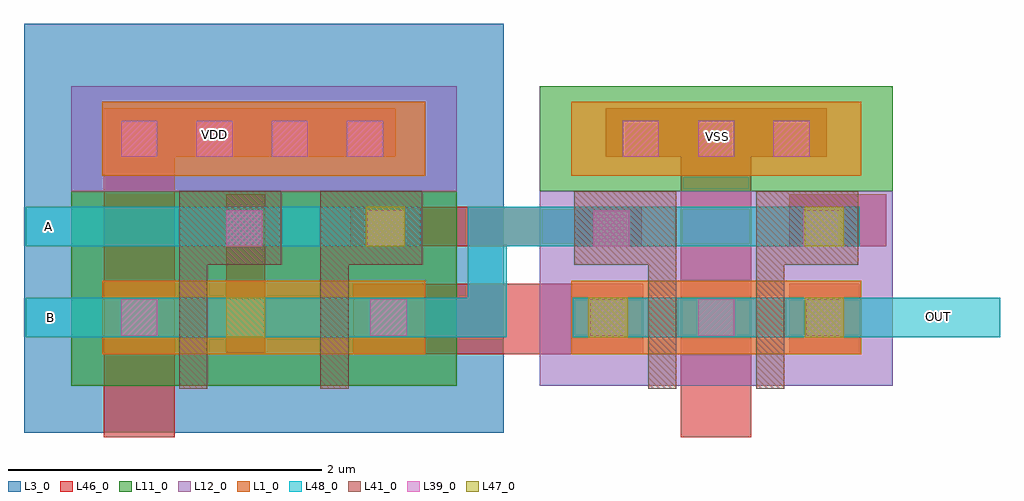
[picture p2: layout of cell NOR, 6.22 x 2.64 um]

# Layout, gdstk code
import gdstk
lib = gdstk.Library(unit=1e-6, precision=1e-09)
def R(c, l, rs):  # rectangles x0, y0, x1, y1
    for r in rs: c.add(gdstk.rectangle(r[:2], r[2:], *l))
def A(c, l, x, y, w, h, nx, ny, dx, dy):  # array of equal rectangles
    R(c, l, [(x+i*dx, y+j*dy, x+i*dx+w, y+j*dy+h) for i in range(nx) for j in range(ny)])
L1_0 = (1, 0)
L3_0 = (3, 0)
L11_0 = (11, 0)
L12_0 = (12, 0)
L39_0 = (39, 0)
L41_0 = (41, 0)
L46_0 = (46, 0)
L47_0 = (47, 0)
L48_0 = (48, 0)

nor = lib.new_cell('NOR')
R(nor, L1_0, [(1.92,5.715,3.98,6.185), (4.91,5.715,6.76,6.185), (1.92,6.855,3.98,7.325), (4.91,6.855,6.76,7.325)])
R(nor, L3_0, [(1.42,5.215,4.48,7.825)])
R(nor, L11_0, [(1.72,5.515,4.18,6.755), (4.71,6.755,6.96,7.425)])
R(nor, L12_0, [(4.71,5.515,6.96,6.755), (1.72,6.755,4.18,7.425)])
A(nor, L39_0, 5.03, 5.835, 0.23, 0.23, 3, 1, 0.69, 0)
A(nor, L39_0, 2.04, 6.975, 0.23, 0.23, 4, 1, 0.48, 0)
A(nor, L39_0, 5.24, 6.975, 0.23, 0.23, 3, 1, 0.48, 0)
R(nor, L39_0, [(2.04,5.835,2.27,6.065), (3.63,5.835,3.86,6.065), (2.71,6.405,2.94,6.635), (3.61,6.405,3.84,6.635), (5.05,6.405,5.28,6.635), (6.39,6.405,6.62,6.635)])
R(nor, L41_0, [(2.41,5.495,2.59,6.755), (3.31,5.495,3.49,6.755), (5.4,5.495,5.58,6.755), (6.09,5.495,6.27,6.755), (2.59,6.285,3.06,6.755), (3.49,6.285,3.96,6.755), (4.93,6.285,5.4,6.755), (6.27,6.285,6.74,6.755)])
R(nor, L46_0, [(1.93,5.185,2.38,7.285), (5.61,5.185,6.06,7.285), (3.52,5.715,5.37,6.165), (6.3,5.715,6.75,6.165), (2.71,5.725,2.96,6.735), (3.5,6.405,5.36,6.655), (6.3,6.405,6.92,6.735), (1.93,6.975,3.79,7.285), (5.13,6.975,6.54,7.285)])
R(nor, L47_0, [(2.71,5.825,2.96,6.075), (5.02,5.825,5.27,6.075), (6.4,5.825,6.65,6.075), (3.6,6.405,3.85,6.655), (6.4,6.405,6.65,6.655)])
R(nor, L48_0, [(1.43,5.825,4.5,6.075), (4.25,5.825,4.5,6.655), (4.92,5.825,7.645,6.075), (1.43,6.405,3.95,6.655), (4.25,6.405,6.75,6.655)])
nor.add(gdstk.Label('VSS', (5.845,7.105), layer=101, texttype=0))
nor.add(gdstk.Label('VDD', (2.635,7.115), layer=101, texttype=0))
nor.add(gdstk.Label('OUT', (7.255,5.955), layer=102, texttype=0))
nor.add(gdstk.Label('B', (1.59,5.95), layer=102, texttype=0))
nor.add(gdstk.Label('A', (1.575,6.53), layer=102, texttype=0))

lib.write_gds('NOR.gds')
